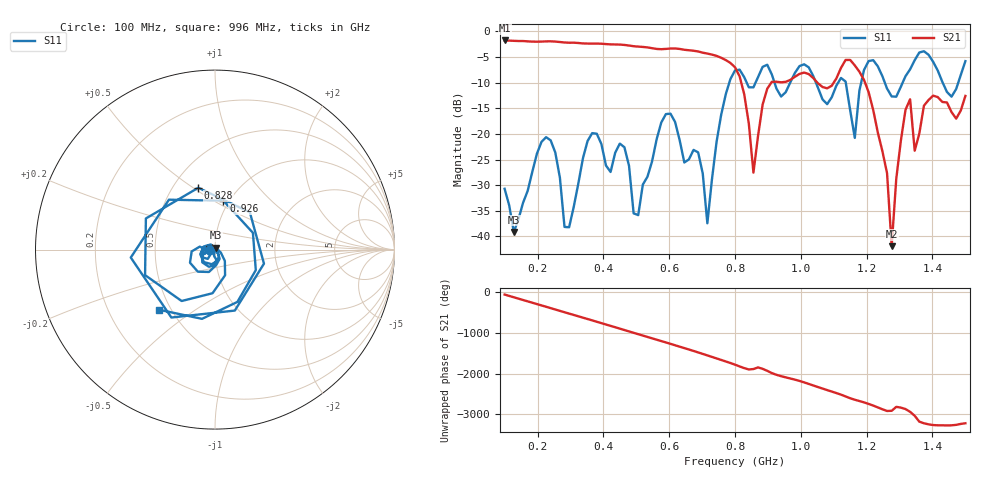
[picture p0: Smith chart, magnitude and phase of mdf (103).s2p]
! NanoVNA-App
! Date: 2025-09-25 17:41:46
! Start: 100MHz Stop: 1,5GHz Points: 101
! S-Parameter data: F S11 S21 S12 S22
# Hz S RI R 50
!  Frequency  S11_Real  S11_Imag  S21_Real  S21_Imag  S12_Real  S12_Imag  S22_Real  S22_Imag
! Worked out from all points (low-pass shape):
!   101 points, 100 MHz to 1.5 GHz, reference 50 ohm
!   highest |S21| = -1.80 dB at 100 MHz (marker M1); lowest = -41.9 dB at 1.276 GHz (marker M2)
!   |S21| within 3 dB of the highest: start of sweep to 743.6 MHz
!   lowest |S11| = -39.1 dB at 128 MHz (marker M3), VSWR 1.02, Z = 50.3 + j1.06 ohm
!   |S11| at or under -10 dB: start of sweep to 782.8 MHz; 1.046 GHz to 1.114 GHz (67.86 MHz wide, 6.29 % of centre); 1.255 GHz to 1.31 GHz (54.46 MHz wide, 4.25 % of centre)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
!   S12 and S22 are empty: the file has one direction only
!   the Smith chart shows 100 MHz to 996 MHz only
!   S11 on the Smith chart (normalised r, x): 100 MHz: 0.94, -0.01; 828 MHz: 0.66, +0.52; 926 MHz: 0.94, +0.55; 996 MHz: 0.43, -0.37
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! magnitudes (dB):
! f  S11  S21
! 100 MHz  -30.7  -1.8
! 128 MHz  -39.1  -1.9
! 212 MHz  -21.6  -2.0
! 282 MHz  -38.1  -2.2
! 338 MHz  -24.7  -2.4
! 464 MHz  -22.6  -2.7
! 506 MHz  -35.8  -3.0
! 576 MHz  -17.8  -3.5
! 688 MHz  -23.6  -3.9
! 716 MHz  -37.4  -4.4
! 800 MHz  -7.6  -7.0
! 828 MHz  -8.9  -12.3
! 856 MHz  -10.9  -27.6
! 926 MHz  -11.2  -9.8
! 996 MHz  -6.8  -8.3
! 1.038 GHz  -8.8  -9.1
! 1.164 GHz  -20.8  -6.7
! 1.192 GHz  -7.5  -9.5
! 1.276 GHz  -12.7  -41.9
! 1.332 GHz  -7.4  -13.3
! 1.346 GHz  -5.6  -23.3
! 1.5 GHz  -5.8  -12.6
